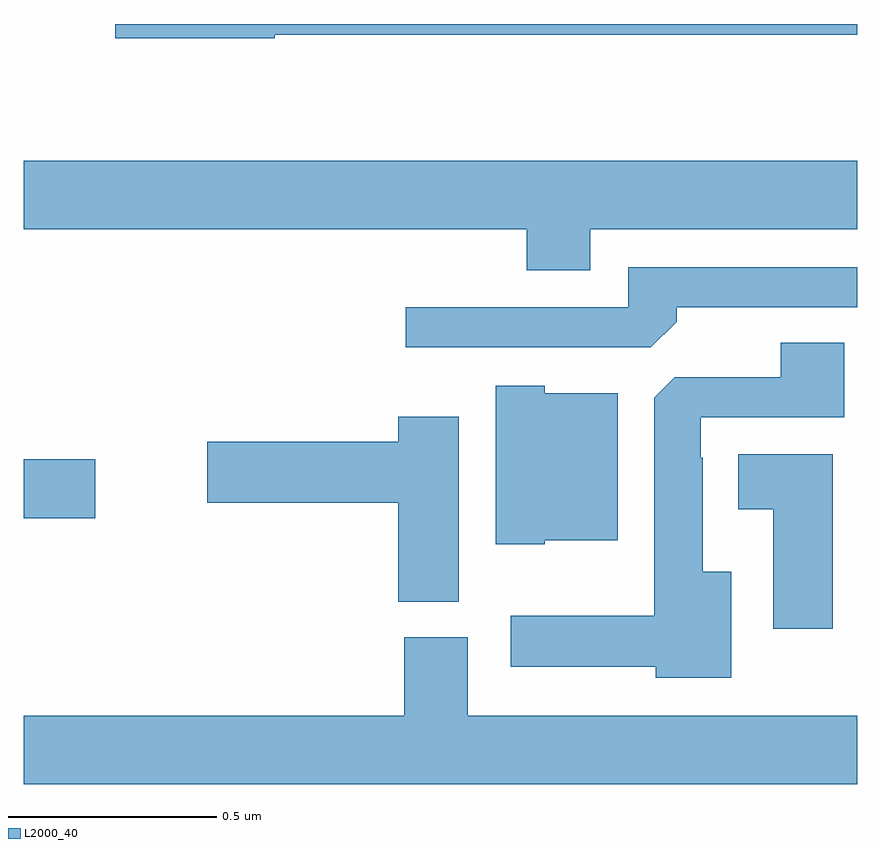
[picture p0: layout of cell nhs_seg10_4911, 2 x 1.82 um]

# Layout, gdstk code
import gdstk
lib = gdstk.Library(unit=1e-6, precision=1e-09)
def R(c, l, rs):  # rectangles x0, y0, x1, y1
    for r in rs: c.add(gdstk.rectangle(r[:2], r[2:], *l))
def P(c, l, *ps):  # polygons
    for p in ps: c.add(gdstk.Polygon(p, *l))
L2000_40 = (2000, 40)

nhs_seg10_4911 = lib.new_cell('nhs_seg10_4911')
R(nhs_seg10_4911, L2000_40, [(172,1274.314,172.171,1274.456)])
P(nhs_seg10_4911, L2000_40, [(172.602,1275.474),(174,1275.474),(174,1275.5),(172.219,1275.5),(172.219,1275.466),(172.602,1275.466)],
  [(173.359,1275.008),(174,1275.008),(174,1275.172),(172,1275.172),(172,1275.008),(173.207,1275.008),(173.207,1274.909),(173.359,1274.909)],
  [(173.567,1274.786),(173.567,1274.82),(174,1274.82),(174,1274.916),(173.451,1274.916),(173.451,1274.82),(172.917,1274.82),(172.917,1274.724),(173.505,1274.724)],
  [(173.698,1274.185),(173.629,1274.185),(173.629,1274.459),(173.625,1274.459),(173.625,1274.556),(173.969,1274.556),(173.969,1274.735),(173.816,1274.735),(173.816,1274.652),(173.562,1274.652),(173.513,1274.603),(173.513,1274.08),(173.169,1274.08),(173.169,1273.958),(173.517,1273.958),(173.517,1273.931),(173.698,1273.931)],
  [(173.25,1274.261),(173.425,1274.261),(173.425,1274.614),(173.25,1274.614),(173.25,1274.632),(173.132,1274.632),(173.132,1274.252),(173.25,1274.252)],
  [(173.044,1274.557),(172.898,1274.557),(172.898,1274.498),(172.44,1274.498),(172.44,1274.351),(172.898,1274.351),(172.898,1274.113),(173.044,1274.113)],
  [(173.941,1274.467),(173.714,1274.467),(173.714,1274.336),(173.798,1274.336),(173.798,1274.049),(173.941,1274.049)],
  [(174,1273.84),(173.065,1273.84),(173.065,1274.028),(172.913,1274.028),(172.913,1273.84),(172,1273.84),(172,1273.676),(174,1273.676)])

lib.write_gds('nhs_seg10_4911.gds')
